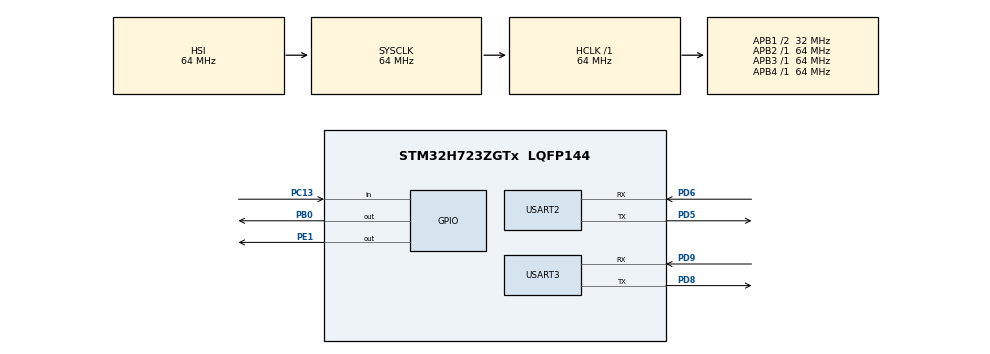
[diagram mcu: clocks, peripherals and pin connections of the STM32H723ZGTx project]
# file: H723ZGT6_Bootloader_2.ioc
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Mcu.Family=STM32H7
Mcu.Name=STM32H723ZGTx
Mcu.Package=LQFP144
NVIC.PriorityGroup=NVIC_PRIORITYGROUP_4
NVIC.USART2_IRQn=true\:0\:0\:false\:false\:true\:true\:true\:true
PB0.Signal=GPIO_Output
PC13.Signal=GPIO_Input
PD5.Mode=Asynchronous
PD5.Signal=USART2_TX
PD6.Mode=Asynchronous
PD6.Signal=USART2_RX
PD8.Mode=Asynchronous
PD8.Signal=USART3_TX
PD9.Mode=Asynchronous
PD9.Signal=USART3_RX
PE1.Signal=GPIO_Output
ProjectManager.HeapSize=0x200
ProjectManager.StackSize=0x400
ProjectManager.TargetToolchain=STM32CubeIDE
RCC.ADCFreq_Value=129000000
RCC.APB1Freq_Value=32000000
RCC.APB2Freq_Value=64000000
RCC.APB3Freq_Value=64000000
RCC.APB4Freq_Value=64000000
RCC.CortexFreq_Value=64000000
RCC.D2PPRE1=RCC_APB1_DIV2
RCC.HCLKFreq_Value=64000000
RCC.SYSCLKFreq_VALUE=64000000
RCC.USBFreq_Value=129000000
USART2.VirtualMode-Asynchronous=VM_ASYNC
USART3.VirtualMode-Asynchronous=VM_ASYNC
VP_MEMORYMAP_VS_MEMORYMAP.Mode=CurAppReg
board=custom

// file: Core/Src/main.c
/* USER CODE BEGIN Header */
/**
  ******************************************************************************
  * @file           : main.c
  * @brief          : Main program body
  ******************************************************************************
  * @attention
  *
  * Copyright (c) 2024 STMicroelectronics.
  * All rights reserved.
  *
  * This software is licensed under terms that can be found in the LICENSE file
  * in the root directory of this software component.
  * If no LICENSE file comes with this software, it is provided AS-IS.
  *
  ******************************************************************************
  */
/* USER CODE END Header */
#include "main.h"

/* USER CODE BEGIN Includes */
#include <stdio.h>
#include "etx_ota_update.h"
/* USER CODE END Includes */

/* USER CODE BEGIN PM */
#define MAJOR 0	//BOOTLOADER MAJOR VERSION NUMBER
#define MINOR 2 //BOOTLOADER MINOR VERSION NUMBER
/* USER CODE END PM */

UART_HandleTypeDef huart2;
UART_HandleTypeDef huart3;

/* USER CODE BEGIN PV */
const uint8_t BL_Version[2] = { MAJOR, MINOR};
uint8_t RxBuffer[1033];

/* USER CODE END PV */

void SystemClock_Config(void);
static void MX_GPIO_Init(void);
static void MX_USART3_UART_Init(void);
static void MX_USART2_UART_Init(void);
/* USER CODE BEGIN PFP */
static void  goto_application(void);
static uint32_t received_data = 0;
static uint32_t remaining_data = 0;
static uint16_t next_data_packet_size = 0;
extern HAL_StatusTypeDef write_data_to_flash_app( uint8_t *data,
                                        uint16_t data_len, bool is_first_block );
static int upload_complete = 0;
static volatile uint32_t reset_handler_address = (ETX_APP_FLASH_ADDR + 4);
typedef void (application_t)(void);
typedef struct
{
    uint32_t		stack_addr;     // Stack Pointer
    application_t*	func_p;        // Program Counter
} JumpStruct;
/* USER CODE END PFP */

/* USER CODE BEGIN 0 */
void HAL_UART_RxCpltCallback(UART_HandleTypeDef *huart)
{
	runtask((ETX_OTA_PACKET_TYPE_)(RxBuffer[PACKET_TYPE_INDEX]));
}
/* USER CODE END 0 */

int main(void)
{

  /* MCU Configuration--------------------------------------------------------*/

  /* Reset of all peripherals, Initializes the Flash interface and the Systick. */
  HAL_Init();

  /* Configure the system clock */
  SystemClock_Config();

  /* Initialize all configured peripherals */
  MX_GPIO_Init();
  MX_USART3_UART_Init();
  MX_USART2_UART_Init();
  /* USER CODE BEGIN 2 */
  HAL_UART_Receive_IT(&huart2, RxBuffer, ETX_OTA_COMMAND_PACKET_SIZE);
  printf("Starting Bootloader (%d.%d)\r\n", BL_Version[0], BL_Version[1]);
  HAL_GPIO_WritePin(GPIOB, GPIO_PIN_0, GPIO_PIN_SET); /*Turn on Green User LED PB0*/

  /* Check the user push button is pressed for 3 seconds */
  GPIO_PinState OTA_Pin_state;
  uint32_t end_tick = HAL_GetTick() + 3000;

  printf("Press the User Button to trigger OTA update...\r\n");
  do
  {
	  OTA_Pin_state = HAL_GPIO_ReadPin(GPIOC, GPIO_PIN_13);

	  uint32_t current_tick = HAL_GetTick();

	  if( (OTA_Pin_state != GPIO_PIN_RESET) || (current_tick > end_tick) )
	  {
		  // Either timeout or the button is pressed //
		  break;
	  }

  }while(1);

  /* STart the Firmware/Application update */

  if(OTA_Pin_state == GPIO_PIN_SET)
  {
	  printf("Starting Firmware Download!!!\r\n");

		upload_complete = 0;
		remaining_data = 0;
		received_data = 0;
		next_data_packet_size = 0;

		while(!upload_complete)
		{

		}
  }

  goto_application();
  /* USER CODE END 2 */

  /* Infinite loop */
  while (1)
  {

  }
}

void SystemClock_Config(void)
{
  RCC_OscInitTypeDef RCC_OscInitStruct = {0};
  RCC_ClkInitTypeDef RCC_ClkInitStruct = {0};

  /** Supply configuration update enable
  */
  HAL_PWREx_ConfigSupply(PWR_LDO_SUPPLY);

  /** Configure the main internal regulator output voltage
  */
  __HAL_PWR_VOLTAGESCALING_CONFIG(PWR_REGULATOR_VOLTAGE_SCALE3);

  while(!__HAL_PWR_GET_FLAG(PWR_FLAG_VOSRDY)) {}

  /** Initializes the RCC Oscillators according to the specified parameters
  * in the RCC_OscInitTypeDef structure.
  */
  RCC_OscInitStruct.OscillatorType = RCC_OSCILLATORTYPE_HSI;
  RCC_OscInitStruct.HSIState = RCC_HSI_DIV1;
  RCC_OscInitStruct.HSICalibrationValue = 64;
  RCC_OscInitStruct.PLL.PLLState = RCC_PLL_NONE;
  if (HAL_RCC_OscConfig(&RCC_OscInitStruct) != HAL_OK)
  {
    Error_Handler();
  }

  /** Initializes the CPU, AHB and APB buses clocks
  */
  RCC_ClkInitStruct.ClockType = RCC_CLOCKTYPE_HCLK|RCC_CLOCKTYPE_SYSCLK
                              |RCC_CLOCKTYPE_PCLK1|RCC_CLOCKTYPE_PCLK2
                              |RCC_CLOCKTYPE_D3PCLK1|RCC_CLOCKTYPE_D1PCLK1;
  RCC_ClkInitStruct.SYSCLKSource = RCC_SYSCLKSOURCE_HSI;
  RCC_ClkInitStruct.SYSCLKDivider = RCC_SYSCLK_DIV1;
  RCC_ClkInitStruct.AHBCLKDivider = RCC_HCLK_DIV1;
  RCC_ClkInitStruct.APB3CLKDivider = RCC_APB3_DIV1;
  RCC_ClkInitStruct.APB1CLKDivider = RCC_APB1_DIV2;
  RCC_ClkInitStruct.APB2CLKDivider = RCC_APB2_DIV1;
  RCC_ClkInitStruct.APB4CLKDivider = RCC_APB4_DIV1;

  if (HAL_RCC_ClockConfig(&RCC_ClkInitStruct, FLASH_LATENCY_1) != HAL_OK)
  {
    Error_Handler();
  }
}

static void MX_USART2_UART_Init(void)
{

  huart2.Instance = USART2;
  huart2.Init.BaudRate = 115200;
  huart2.Init.WordLength = UART_WORDLENGTH_8B;
  huart2.Init.StopBits = UART_STOPBITS_1;
  huart2.Init.Parity = UART_PARITY_NONE;
  huart2.Init.Mode = UART_MODE_TX_RX;
  huart2.Init.HwFlowCtl = UART_HWCONTROL_NONE;
  huart2.Init.OverSampling = UART_OVERSAMPLING_16;
  huart2.Init.OneBitSampling = UART_ONE_BIT_SAMPLE_DISABLE;
  huart2.Init.ClockPrescaler = UART_PRESCALER_DIV1;
  huart2.AdvancedInit.AdvFeatureInit = UART_ADVFEATURE_NO_INIT;
  if (HAL_UART_Init(&huart2) != HAL_OK)
  {
    Error_Handler();
  }
  if (HAL_UARTEx_SetTxFifoThreshold(&huart2, UART_TXFIFO_THRESHOLD_1_8) != HAL_OK)
  {
    Error_Handler();
  }
  if (HAL_UARTEx_SetRxFifoThreshold(&huart2, UART_RXFIFO_THRESHOLD_1_8) != HAL_OK)
  {
    Error_Handler();
  }
  if (HAL_UARTEx_DisableFifoMode(&huart2) != HAL_OK)
  {
    Error_Handler();
  }

}

static void MX_USART3_UART_Init(void)
{

  huart3.Instance = USART3;
  huart3.Init.BaudRate = 115200;
  huart3.Init.WordLength = UART_WORDLENGTH_8B;
  huart3.Init.StopBits = UART_STOPBITS_1;
  huart3.Init.Parity = UART_PARITY_NONE;
  huart3.Init.Mode = UART_MODE_TX_RX;
  huart3.Init.HwFlowCtl = UART_HWCONTROL_NONE;
  huart3.Init.OverSampling = UART_OVERSAMPLING_16;
  huart3.Init.OneBitSampling = UART_ONE_BIT_SAMPLE_DISABLE;
  huart3.Init.ClockPrescaler = UART_PRESCALER_DIV1;
  huart3.AdvancedInit.AdvFeatureInit = UART_ADVFEATURE_NO_INIT;
  if (HAL_UART_Init(&huart3) != HAL_OK)
  {
    Error_Handler();
  }
  if (HAL_UARTEx_SetTxFifoThreshold(&huart3, UART_TXFIFO_THRESHOLD_1_8) != HAL_OK)
  {
    Error_Handler();
  }
  if (HAL_UARTEx_SetRxFifoThreshold(&huart3, UART_RXFIFO_THRESHOLD_1_8) != HAL_OK)
  {
    Error_Handler();
  }
  if (HAL_UARTEx_DisableFifoMode(&huart3) != HAL_OK)
  {
    Error_Handler();
  }

}

static void MX_GPIO_Init(void)
{
  GPIO_InitTypeDef GPIO_InitStruct = {0};

  /* GPIO Ports Clock Enable */
  __HAL_RCC_GPIOC_CLK_ENABLE();
  __HAL_RCC_GPIOB_CLK_ENABLE();
  __HAL_RCC_GPIOD_CLK_ENABLE();
  __HAL_RCC_GPIOE_CLK_ENABLE();

  /*Configure GPIO pin Output Level */
  HAL_GPIO_WritePin(GPIOB, GPIO_PIN_0, GPIO_PIN_RESET);

  /*Configure GPIO pin Output Level */
  HAL_GPIO_WritePin(GPIOE, GPIO_PIN_1, GPIO_PIN_RESET);

  /*Configure GPIO pin : PC13 */
  GPIO_InitStruct.Pin = GPIO_PIN_13;
  GPIO_InitStruct.Mode = GPIO_MODE_INPUT;
  GPIO_InitStruct.Pull = GPIO_NOPULL;
  HAL_GPIO_Init(GPIOC, &GPIO_InitStruct);

  /*Configure GPIO pin : PB0 */
  GPIO_InitStruct.Pin = GPIO_PIN_0;
  GPIO_InitStruct.Mode = GPIO_MODE_OUTPUT_PP;
  GPIO_InitStruct.Pull = GPIO_NOPULL;
  GPIO_InitStruct.Speed = GPIO_SPEED_FREQ_LOW;
  HAL_GPIO_Init(GPIOB, &GPIO_InitStruct);

  /*Configure GPIO pin : PE1 */
  GPIO_InitStruct.Pin = GPIO_PIN_1;
  GPIO_InitStruct.Mode = GPIO_MODE_OUTPUT_PP;
  GPIO_InitStruct.Pull = GPIO_NOPULL;
  GPIO_InitStruct.Speed = GPIO_SPEED_FREQ_LOW;
  HAL_GPIO_Init(GPIOE, &GPIO_InitStruct);

}

/* USER CODE BEGIN 4 */
/**
 *  @brief Print the characters to UART (printf).
 *  @retval int
 */
#ifdef __GNUC__
	/* With GCC, a small printf (option LD Linker->Libraries->Small printf
	 * set to 'Yes') calls __io_putchar()
	 */
int _write(int file, char*ptr, int len)
#else
int fputc(int ch, FILE *f)
#endif /*(__GNUC__)*/
{
	/* Place your implementation of fputc here*/
	/* e.g write a character to the UART3 and Loop until the end of transmission */
	int i = 0;
	for(i = 0; i < len; i++)
	{
		ITM_SendChar((*ptr++));
	}
	return len;

}

static void goto_application (void)
{
	printf("Jumping to Application \r\n");

	uint32_t *addr = (uint32_t*)(ETX_APP_FLASH_ADDR + 0x04);
	uint32_t read_value = *addr;

	if(read_value != 0xFFFFFFFF)
	{
		const void (*app_reset_handler)(void) = (void*)(*(volatile uint32_t *)(0x08040000 + 0x04));

		HAL_GPIO_WritePin(GPIOB, GPIO_PIN_0, GPIO_PIN_RESET); //turn off the GREEN LED PB0

		app_reset_handler();	//call the application reset handler
	}
}
/* USER CODE END 4 */

void Error_Handler(void)
{
  __disable_irq();
  while (1)
  {
  }
}
